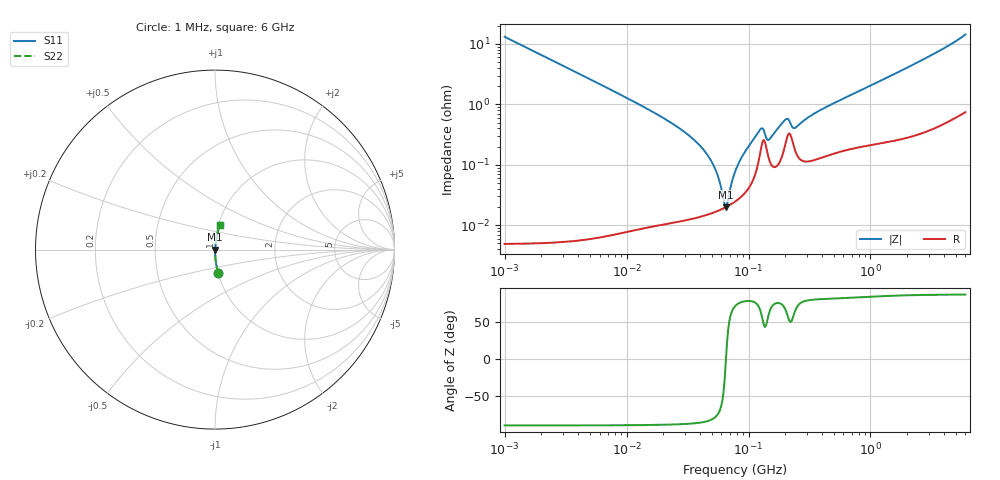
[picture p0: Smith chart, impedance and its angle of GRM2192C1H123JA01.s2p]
!Murata Part Number: GRM2192C1H123JA01
!These Parameters are Measured in Series Mode Connection
!Data Generated on Mar 30, 2021
!  o--ll--o
!Port1  Port2
!  o------o
!Operation Temp=25[degC], DC Bias Voltage=0[V]
!Freq. Start=1000[kHz] Stop=6[GHz] 401[Steps]
# Hz S RI R 50
!Freq.(Hz) S11(Real) S11(Imag) S21(Real) S21(Imag) S12(Real) S12(Imag) S22(Real) S22(Imag)
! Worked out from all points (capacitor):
!   401 points, 1 MHz to 6 GHz, reference 50 ohm
!   read as one part in series: C = 12.1 nF near 1.044 MHz
!   lowest |Z| = 19.9 mohm at 65.09 MHz (marker M1)
!   series resonance near 65.32 MHz, so ESL is about 490 pH
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1000000  0.0171 -0.1294  0.9829 0.1294  0.9829 0.1294  0.0171 -0.1294
4293785  0.000987 -0.0305  0.999 0.0305  0.999 0.0305  0.000987 -0.0305
1.843659e7  0.000142 -0.00656  0.9999 0.00656  0.9999 0.00656  0.000142 -0.00656
3.107204e7  0.000132 -0.00328  0.9999 0.00328  0.9999 0.00328  0.000132 -0.00328
4.400437e7  0.000148 -0.00165  0.9999 0.00165  0.9999 0.00165  0.000148 -0.00165
5.351853e7  0.000167 -0.00082  0.9998 0.00082  0.9998 0.00082  0.000167 -0.00082
5.712686e7  0.000176 -0.000551  0.9998 0.000551  0.9998 0.000551  0.000176 -0.000551
6.23192e7  0.00019 -0.000194  0.9998 0.000194  0.9998 0.000194  0.00019 -0.000194
6.508975e7  0.000199 -1.45e-05  0.9998 1.45e-05  0.9998 1.45e-05  0.000199 -1.45e-05
6.798347e7  0.000208 0.000166  0.9998 -0.000166  0.9998 -0.000166  0.000208 0.000166
7.745967e7  0.000246 0.000722  0.9998 -0.000722  0.9998 -0.000722  0.000246 0.000722
9.019724e7  0.000318 0.00142  0.9997 -0.00142  0.9997 -0.00142  0.000318 0.00142
1.249896e8  0.00162 0.00351  0.9984 -0.00351  0.9984 -0.00351  0.00162 0.00351
1.305463e8  0.00243 0.00318  0.9976 -0.00318  0.9976 -0.00318  0.00243 0.00318
1.424119e8  0.00162 0.00204  0.9984 -0.00204  0.9984 -0.00204  0.00162 0.00204
1.487431e8  0.00117 0.00238  0.9988 -0.00238  0.9988 -0.00238  0.00117 0.00238
2.016844e8  0.00232 0.00514  0.9977 -0.00514  0.9977 -0.00514  0.00232 0.00514
2.106508e8  0.00316 0.00476  0.9968 -0.00476  0.9968 -0.00476  0.00316 0.00476
2.400133e8  0.00178 0.00365  0.9982 -0.00365  0.9982 -0.00365  0.00178 0.00365
3.325952e8  0.00121 0.00661  0.9988 -0.00661  0.9988 -0.00661  0.00121 0.00661
1.428092e9  0.00323 0.0287  0.9968 -0.0287  0.9968 -0.0287  0.00323 0.0287
6e9  0.0271 0.1387  0.9729 -0.1387  0.9729 -0.1387  0.0271 0.1387
